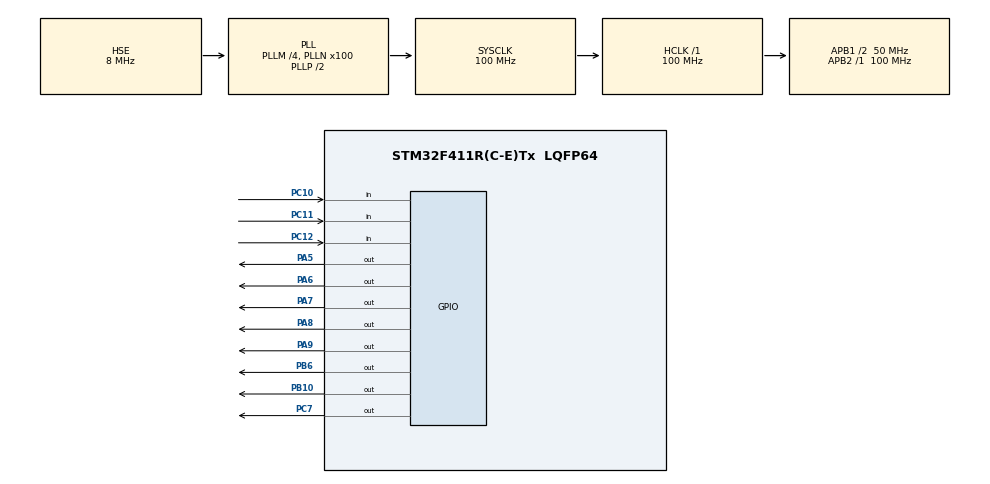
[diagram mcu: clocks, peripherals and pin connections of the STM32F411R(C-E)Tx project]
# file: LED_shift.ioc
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Mcu.Family=STM32F4
Mcu.Name=STM32F411R(C-E)Tx
Mcu.Package=LQFP64
NVIC.PriorityGroup=NVIC_PRIORITYGROUP_4
PA13.Mode=Serial_Wire
PA13.Signal=SYS_JTMS-SWDIO
PA14.Mode=Serial_Wire
PA14.Signal=SYS_JTCK-SWCLK
PA5.PinState=GPIO_PIN_SET
PA5.Signal=GPIO_Output
PA6.PinState=GPIO_PIN_SET
PA6.Signal=GPIO_Output
PA7.PinState=GPIO_PIN_SET
PA7.Signal=GPIO_Output
PA8.PinState=GPIO_PIN_SET
PA8.Signal=GPIO_Output
PA9.PinState=GPIO_PIN_SET
PA9.Signal=GPIO_Output
PB10.PinState=GPIO_PIN_SET
PB10.Signal=GPIO_Output
PB6.PinState=GPIO_PIN_SET
PB6.Signal=GPIO_Output
PC10.Signal=GPIO_Input
PC11.Signal=GPIO_Input
PC12.Signal=GPIO_Input
PC7.PinState=GPIO_PIN_SET
PC7.Signal=GPIO_Output
PH0\ -\ OSC_IN.Mode=HSE-External-Oscillator
PH0\ -\ OSC_IN.Signal=RCC_OSC_IN
PH1\ -\ OSC_OUT.Mode=HSE-External-Oscillator
PH1\ -\ OSC_OUT.Signal=RCC_OSC_OUT
ProjectManager.HeapSize=0x200
ProjectManager.StackSize=0x400
ProjectManager.TargetToolchain=STM32CubeIDE
RCC.48MHZClocksFreq_Value=50000000
RCC.AHBFreq_Value=100000000
RCC.APB1CLKDivider=RCC_HCLK_DIV2
RCC.APB1Freq_Value=50000000
RCC.APB1TimFreq_Value=100000000
RCC.APB2Freq_Value=100000000
RCC.APB2TimFreq_Value=100000000
RCC.CortexFreq_Value=100000000
RCC.HCLKFreq_Value=100000000
RCC.HSE_VALUE=8000000
RCC.HSI_VALUE=16000000
RCC.LSE_VALUE=32768
RCC.PLLM=4
RCC.PLLN=100
RCC.PLLSourceVirtual=RCC_PLLSOURCE_HSE
RCC.SYSCLKFreq_VALUE=100000000
RCC.SYSCLKSource=RCC_SYSCLKSOURCE_PLLCLK
RCC.VCOOutputFreq_Value=200000000
board=custom

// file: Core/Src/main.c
/* USER CODE BEGIN Header */
/**
  ******************************************************************************
  * @file           : main.c
  * @brief          : Main program body
  ******************************************************************************
  * @attention
  *
  * Copyright (c) 2023 STMicroelectronics.
  * All rights reserved.
  *
  * This software is licensed under terms that can be found in the LICENSE file
  * in the root directory of this software component.
  * If no LICENSE file comes with this software, it is provided AS-IS.
  *
  ******************************************************************************
  */
/* USER CODE END Header */
#include "main.h"
#include "gpio.h"

/* USER CODE BEGIN Includes */
#include "Button.h"
/* USER CODE END Includes */

void SystemClock_Config(void);

int main(void)
{
  /* USER CODE BEGIN 1 */
//  Button shift_left;
//  Button Toggle;
  /* USER CODE END 1 */

  /* MCU Configuration--------------------------------------------------------*/

  /* Reset of all peripherals, Initializes the Flash interface and the Systick. */
  HAL_Init();

  /* USER CODE BEGIN Init */
//  Button_Init(&Toggle, GPIOC, GPIO_PIN_11);
//  Button_Init(&shift_left, GPIOC, GPIO_PIN_10);
//
  /* USER CODE END Init */

  /* Configure the system clock */
  SystemClock_Config();

  /* Initialize all configured peripherals */
  MX_GPIO_Init();
  /* USER CODE BEGIN 2 */
  GPIO_TypeDef *led2_GPIO[8]=
      {
          GPIOA,GPIOA,GPIOA,GPIOB,GPIOC,GPIOA,GPIOA,GPIOB
      };
  uint16_t led2_GPIO_PIN[8]=
      {
          GPIO_PIN_5,GPIO_PIN_6,GPIO_PIN_7,GPIO_PIN_6,GPIO_PIN_7,GPIO_PIN_9,GPIO_PIN_8,GPIO_PIN_10
      };
  uint8_t state=0;

  /* USER CODE END 2 */

  /* Infinite loop */
  while (1)
  {

    /* USER CODE BEGIN 3 */

    if(!HAL_GPIO_ReadPin(GPIOC, GPIO_PIN_10))
    {
      for(int i=0; i<8; i++)
      {
        HAL_GPIO_WritePin(led2_GPIO[i], led2_GPIO_PIN[i], 1);
        HAL_Delay(150);
        HAL_GPIO_WritePin(led2_GPIO[i], led2_GPIO_PIN[i], 0);
      }
    }
    if(!HAL_GPIO_ReadPin(GPIOC, GPIO_PIN_11))
      {
        for(int i=7; i>=0; i--)
        {
          HAL_GPIO_WritePin(led2_GPIO[i], led2_GPIO_PIN[i], 1);
          HAL_Delay(150);
          HAL_GPIO_WritePin(led2_GPIO[i], led2_GPIO_PIN[i], 0);
        }
      }
    if (!HAL_GPIO_ReadPin(GPIOC, GPIO_PIN_12))
    {
      for(int i=0; i<8; i++)
      {
        HAL_GPIO_WritePin(led2_GPIO[i], led2_GPIO_PIN[i], 1);
        HAL_Delay(150);
        HAL_GPIO_WritePin(led2_GPIO[i], led2_GPIO_PIN[i], 0);
      }
      for(int i=7; i>=0; i--)
      {
        HAL_GPIO_WritePin(led2_GPIO[i], led2_GPIO_PIN[i], 1);
        HAL_Delay(150);
        HAL_GPIO_WritePin(led2_GPIO[i], led2_GPIO_PIN[i], 0);
      }
    }

  }

  /* USER CODE END 3 */
}

void SystemClock_Config(void)
{
  RCC_OscInitTypeDef RCC_OscInitStruct = {0};
  RCC_ClkInitTypeDef RCC_ClkInitStruct = {0};

  /** Configure the main internal regulator output voltage
  */
  __HAL_RCC_PWR_CLK_ENABLE();
  __HAL_PWR_VOLTAGESCALING_CONFIG(PWR_REGULATOR_VOLTAGE_SCALE1);

  /** Initializes the RCC Oscillators according to the specified parameters
  * in the RCC_OscInitTypeDef structure.
  */
  RCC_OscInitStruct.OscillatorType = RCC_OSCILLATORTYPE_HSE;
  RCC_OscInitStruct.HSEState = RCC_HSE_ON;
  RCC_OscInitStruct.PLL.PLLState = RCC_PLL_ON;
  RCC_OscInitStruct.PLL.PLLSource = RCC_PLLSOURCE_HSE;
  RCC_OscInitStruct.PLL.PLLM = 4;
  RCC_OscInitStruct.PLL.PLLN = 100;
  RCC_OscInitStruct.PLL.PLLP = RCC_PLLP_DIV2;
  RCC_OscInitStruct.PLL.PLLQ = 4;
  if (HAL_RCC_OscConfig(&RCC_OscInitStruct) != HAL_OK)
  {
    Error_Handler();
  }

  /** Initializes the CPU, AHB and APB buses clocks
  */
  RCC_ClkInitStruct.ClockType = RCC_CLOCKTYPE_HCLK|RCC_CLOCKTYPE_SYSCLK
                              |RCC_CLOCKTYPE_PCLK1|RCC_CLOCKTYPE_PCLK2;
  RCC_ClkInitStruct.SYSCLKSource = RCC_SYSCLKSOURCE_PLLCLK;
  RCC_ClkInitStruct.AHBCLKDivider = RCC_SYSCLK_DIV1;
  RCC_ClkInitStruct.APB1CLKDivider = RCC_HCLK_DIV2;
  RCC_ClkInitStruct.APB2CLKDivider = RCC_HCLK_DIV1;

  if (HAL_RCC_ClockConfig(&RCC_ClkInitStruct, FLASH_LATENCY_3) != HAL_OK)
  {
    Error_Handler();
  }
}

void Error_Handler(void)
{
  __disable_irq();
  while (1)
  {
  }
}
